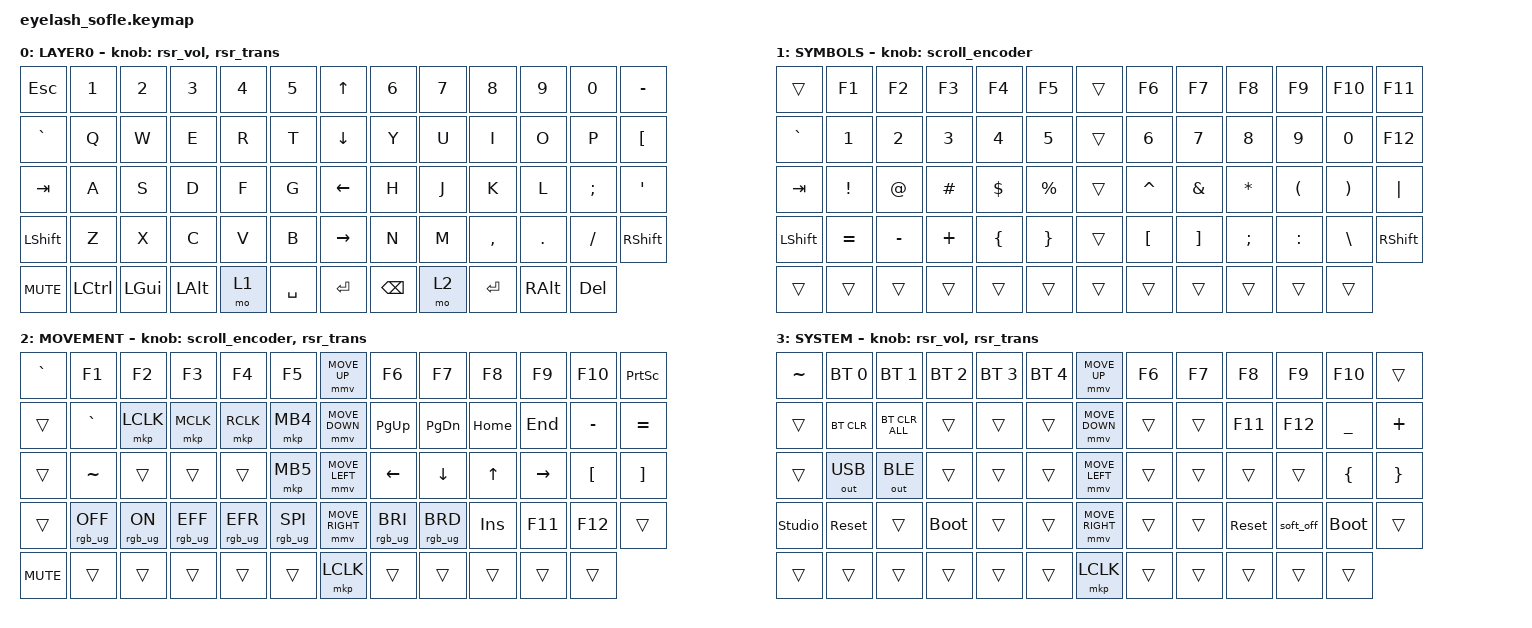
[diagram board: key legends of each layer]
#define ZMK_POINTING_DEFAULT_MOVE_VAL 1200  // 600
#define ZMK_POINTING_DEFAULT_SCRL_VAL 25   // 10

#include <input/processors.dtsi>
#include <zephyr/dt-bindings/input/input-event-codes.h>
#include <behaviors/runtime-sensor-rotate.dtsi>
#include <behaviors.dtsi>
#include <dt-bindings/zmk/bt.h>
#include <dt-bindings/zmk/keys.h>
#include <dt-bindings/zmk/outputs.h>
#include <dt-bindings/zmk/pointing.h>
#include <dt-bindings/zmk/rgb.h>

&mmv_input_listener { input-processors = <&zip_xy_scaler 2 1>; };

&msc_input_listener { input-processors = <&zip_scroll_scaler 2 1>; };

&msc {
    acceleration-exponent = <1>;      // 0
    time-to-max-speed-ms = <100>;       // 300
    delay-ms = <0>;                   // 0
};

&mmv {
    time-to-max-speed-ms = <500>;
    acceleration-exponent = <1>;
    trigger-period-ms = <16>;
};

&soft_off { hold-time-ms = <2000>; };

/ {
    scroll_encoder: scroll_encoder {
        compatible = "zmk,behavior-sensor-rotate";
        #sensor-binding-cells = <0>;
        bindings = <&msc SCRL_DOWN>, <&msc SCRL_UP>;

        tap-ms = <100>;
    };

    behaviors {
        rsr_vol: rsr_vol {
            compatible = "zmk,behavior-runtime-sensor-rotate";
            #sensor-binding-cells = <0>;
            tap-ms = <5>;
            cw-binding = <&kp C_VOL_UP>;
            ccw-binding = <&kp C_VOL_DN>;
        };

        rsr_trans: rsr_trans {
            compatible = "zmk,behavior-runtime-sensor-rotate";
            #sensor-binding-cells = <0>;
            tap-ms = <0>;
        };
    };

    combos {
        compatible = "zmk,combos";

        softoff {
            bindings = <&soft_off>;
            key-positions = <14 28 40>;
        };
    };

    macros {
        SHIFT_MCLK: SHIFT_MCLK {
            compatible = "zmk,behavior-macro";
            #binding-cells = <0>;
            bindings =
                <&macro_press>,
                <&kp LEFT_SHIFT>,
                <&macro_press>,
                <&mkp MB3>,
                <&macro_pause_for_release>,
                <&macro_release>,
                <&kp LEFT_SHIFT &mkp MB3>;

            label = "SHIFT_MCLK";
        };
    };

    keymap {
        compatible = "zmk,keymap";

        layer0 {
            bindings = <
&kp ESC     &kp N1     &kp N2        &kp N3        &kp N4  &kp N5       &kp UP_ARROW     &kp N6         &kp N7  &kp N8     &kp N9         &kp N0      &kp MINUS
&kp GRAVE   &kp Q      &kp W         &kp E         &kp R   &kp T        &kp DOWN_ARROW   &kp Y          &kp U   &kp I      &kp O          &kp P       &kp LBKT
&kp TAB     &kp A      &kp S         &kp D         &kp F   &kp G        &kp LEFT_ARROW   &kp H          &kp J   &kp K      &kp L          &kp SEMI    &kp SQT
&kp LSHFT   &kp Z      &kp X         &kp C         &kp V   &kp B        &kp RIGHT_ARROW  &kp N          &kp M   &kp COMMA  &kp DOT        &kp FSLH    &kp RSHFT
&kp C_MUTE  &kp LCTRL  &kp LEFT_GUI  &kp LEFT_ALT  &mo 1   &kp SPACE    &kp ENTER        &kp BACKSPACE  &mo 2   &kp ENTER  &kp RIGHT_ALT  &kp DELETE
            >;

            sensor-bindings = <&rsr_vol &rsr_trans>;
            display-name = "LAYER0";
        };

        layer1 {
            bindings = <
&trans     &kp F1           &kp F2       &kp F3    &kp F4          &kp F5             &trans  &kp F6     &kp F7    &kp F8        &kp F9                &kp F10                &kp F11
&kp GRAVE  &kp N1           &kp N2       &kp N3    &kp N4          &kp N5             &trans  &kp N6     &kp N7    &kp N8        &kp N9                &kp N0                 &kp F12
&kp TAB    &kp EXCLAMATION  &kp AT_SIGN  &kp HASH  &kp DOLLAR      &kp PERCENT        &trans  &kp CARET  &kp AMPS  &kp ASTERISK  &kp LEFT_PARENTHESIS  &kp RIGHT_PARENTHESIS  &kp PIPE
&kp LSHFT  &kp EQUAL        &kp MINUS    &kp PLUS  &kp LEFT_BRACE  &kp RIGHT_BRACE    &trans  &kp LBKT   &kp RBKT  &kp SEMI      &kp COLON             &kp BSLH               &kp RSHFT
&trans     &trans           &trans       &trans    &trans          &trans             &trans  &trans     &trans    &trans        &trans                &trans
            >;

            sensor-bindings = <&scroll_encoder>;
            label = "SYMBOLS";
        };

        layer2 {
            bindings = <
&kp GRAVE   &kp F1           &kp F2          &kp F3           &kp F4           &kp F5             &mmv MOVE_UP     &kp F6           &kp F7           &kp F8      &kp F9     &kp F10           &kp PRINTSCREEN
&trans      &kp GRAVE        &mkp LCLK       &mkp MCLK        &mkp RCLK        &mkp MB4           &mmv MOVE_DOWN   &kp PG_UP        &kp PG_DN        &kp HOME    &kp END    &kp MINUS         &kp EQUAL
&trans      &kp TILDE        &trans          &trans           &trans           &mkp MB5           &mmv MOVE_LEFT   &kp LEFT         &kp DOWN         &kp UP      &kp RIGHT  &kp LEFT_BRACKET  &kp RIGHT_BRACKET
&trans      &rgb_ug RGB_OFF  &rgb_ug RGB_ON  &rgb_ug RGB_EFF  &rgb_ug RGB_EFR  &rgb_ug RGB_SPI    &mmv MOVE_RIGHT  &rgb_ug RGB_BRI  &rgb_ug RGB_BRD  &kp INSERT  &kp F11    &kp F12           &trans
&kp C_MUTE  &trans           &trans          &trans           &trans           &trans             &mkp LCLK        &trans           &trans           &trans      &trans     &trans
            >;

            sensor-bindings = <&scroll_encoder>, <&rsr_trans>;

            display-name = "MOVEMENT";
        };

        layer3 {
            bindings = <
&kp TILDE       &bt BT_SEL 0  &bt BT_SEL 1    &bt BT_SEL 2  &bt BT_SEL 3  &bt BT_SEL 4    &mmv MOVE_UP     &kp F6  &kp F7  &kp F8      &kp F9     &kp F10      &trans
&trans          &bt BT_CLR    &bt BT_CLR_ALL  &trans        &trans        &trans          &mmv MOVE_DOWN   &trans  &trans  &kp F11     &kp F12    &kp UNDER    &kp PLUS
&trans          &out OUT_USB  &out OUT_BLE    &trans        &trans        &trans          &mmv MOVE_LEFT   &trans  &trans  &trans      &trans     &kp LBRC     &kp RBRC
&studio_unlock  &sys_reset    &trans          &bootloader   &trans        &trans          &mmv MOVE_RIGHT  &trans  &trans  &sys_reset  &soft_off  &bootloader  &trans
&trans          &trans        &trans          &trans        &trans        &trans          &mkp LCLK        &trans  &trans  &trans      &trans     &trans
            >;

            display-name = "SYSTEM";
            sensor-bindings = <&rsr_vol &rsr_trans>;
        };
    };

    conditional_layers {
        compatible = "zmk,conditional-layers";

        activate3 {
            if-layers = <1 2>;
            then-layer = <3>;
        };
    };
};
